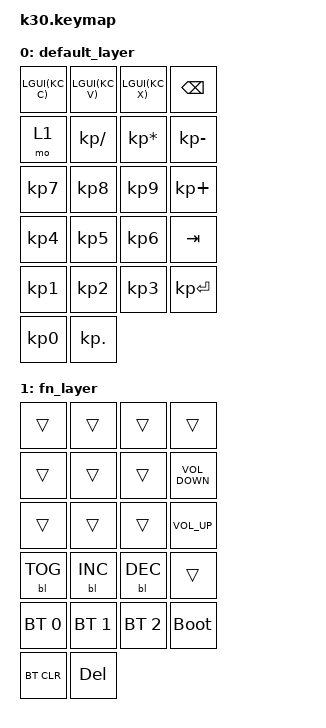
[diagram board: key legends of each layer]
#include <behaviors.dtsi>
#include <dt-bindings/zmk/bt.h>
#include <dt-bindings/zmk/keys.h>
#include <dt-bindings/zmk/backlight.h>

/ {
    
    
    keymap {
        compatible = "zmk,keymap";

        default_layer {
        /*
        ----------------------------------------------
        |    COPY    |     PASTE    |     CUT      |    BSPC    |
        |     FN     |      /       |      *       |     -      |
        |     7      |      8       |      9       |     +      |
        |     4      |      5       |      6       |    TAP     |
        |     1      |      2       |      3       |    ENTER   |
        |     0      |      .       |
        */
            bindings = <
                &kp LGUI(KC_C)   &kp LGUI(KC_V)    &kp LGUI(KC_X)     &kp BSPC
                &mo 1       &kp KP_SLASH    &kp KP_ASTERISK  &kp KP_MINUS
                &kp KP_N7     &kp KP_N8       &kp KP_N9      &kp KP_PLUS
                &kp KP_N4     &kp KP_N5       &kp KP_N6      &kp TAB
                &kp KP_N1     &kp KP_N2       &kp KP_N3      &kp KP_ENTER
                &kp KP_N0     &kp KP_DOT           
            >;
        };

        fn_layer {
            bindings = <
                &trans        &trans          &trans         &trans
                &trans        &trans          &trans         &kp K_VOLUME_DOWN
                &trans        &trans          &trans         &kp K_VOLUME_UP
                &bl BL_TOG    &bl BL_INC      &bl BL_DEC     &trans  
                &bt BT_SEL 0  &bt BT_SEL 1    &bt BT_SEL 2   &bootloader
                &bt BT_CLR    &kp DEL
            >;
        };
    };
};
